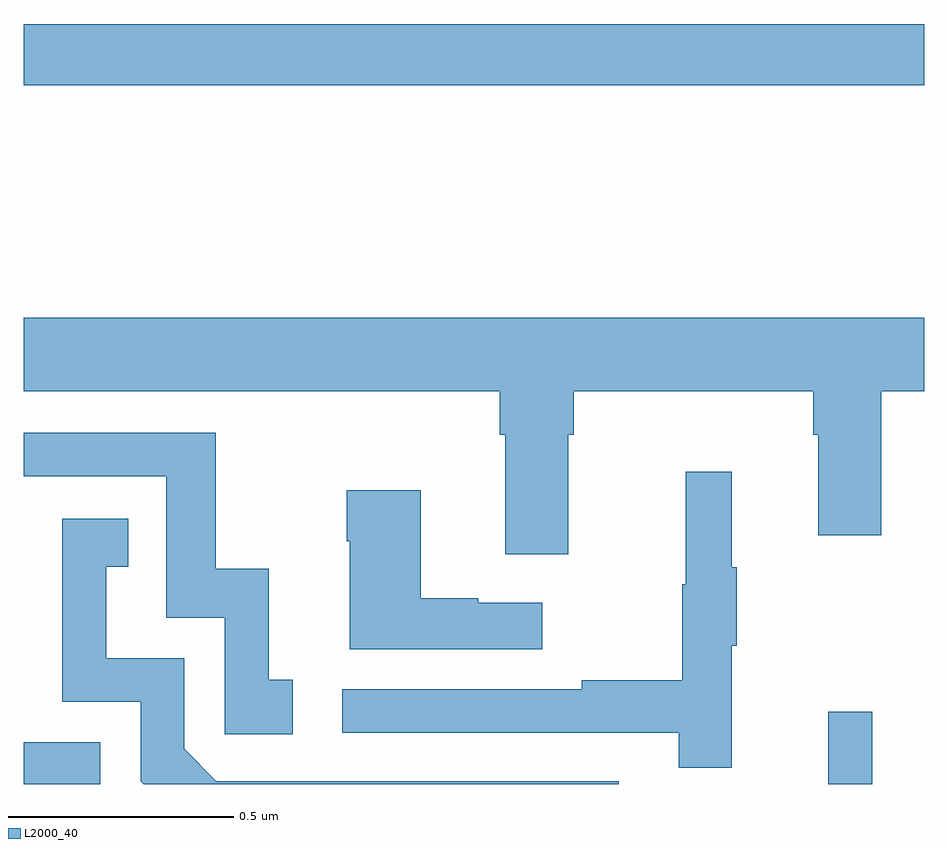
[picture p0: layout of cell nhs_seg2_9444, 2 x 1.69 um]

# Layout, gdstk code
import gdstk
lib = gdstk.Library(unit=1e-6, precision=1e-09)
def R(c, l, rs):  # rectangles x0, y0, x1, y1
    for r in rs: c.add(gdstk.rectangle(r[:2], r[2:], *l))
def P(c, l, *ps):  # polygons
    for p in ps: c.add(gdstk.Polygon(p, *l))
L2000_40 = (2000, 40)

nhs_seg2_9444 = lib.new_cell('nhs_seg2_9444')
R(nhs_seg2_9444, L2000_40, [(229,610.8,229.17,610.893), (230.787,610.8,230.884,610.96), (229,612.352,231,612.488)])
P(nhs_seg2_9444, L2000_40, [(230.209,611.576),(230.222,611.576),(230.222,611.672),(230.753,611.672),(230.753,611.576),(230.765,611.576),(230.765,611.352),(230.905,611.352),(230.905,611.672),(231,611.672),(231,611.836),(229,611.836),(229,611.672),(230.057,611.672),(230.057,611.576),(230.069,611.576),(230.069,611.31),(230.209,611.31)],
  [(229.597,611.031),(229.544,611.031),(229.544,611.278),(229.426,611.278),(229.426,611.58),(229,611.58),(229,611.484),(229.317,611.484),(229.317,611.169),(229.446,611.169),(229.446,610.911),(229.597,610.911)],
  [(230.573,611.107),(230.584,611.107),(230.584,611.281),(230.573,611.281),(230.573,611.494),(230.47,611.494),(230.47,611.244),(230.463,611.244),(230.463,611.03),(230.239,611.03),(230.239,611.01),(229.707,611.01),(229.707,610.914),(230.455,610.914),(230.455,610.836),(230.573,610.836)],
  [(230.152,611.203),(230.009,611.203),(230.009,611.213),(229.882,611.213),(229.882,611.452),(229.717,611.452),(229.717,611.339),(229.724,611.339),(229.724,611.099),(230.152,611.099)],
  [(230.322,610.806),(229.428,610.806),(229.356,610.878),(229.356,611.079),(229.183,611.079),(229.183,611.283),(229.232,611.283),(229.232,611.389),(229.086,611.389),(229.086,610.983),(229.26,610.983),(229.26,610.806),(229.266,610.8),(230.322,610.8)])

lib.write_gds('nhs_seg2_9444.gds')
